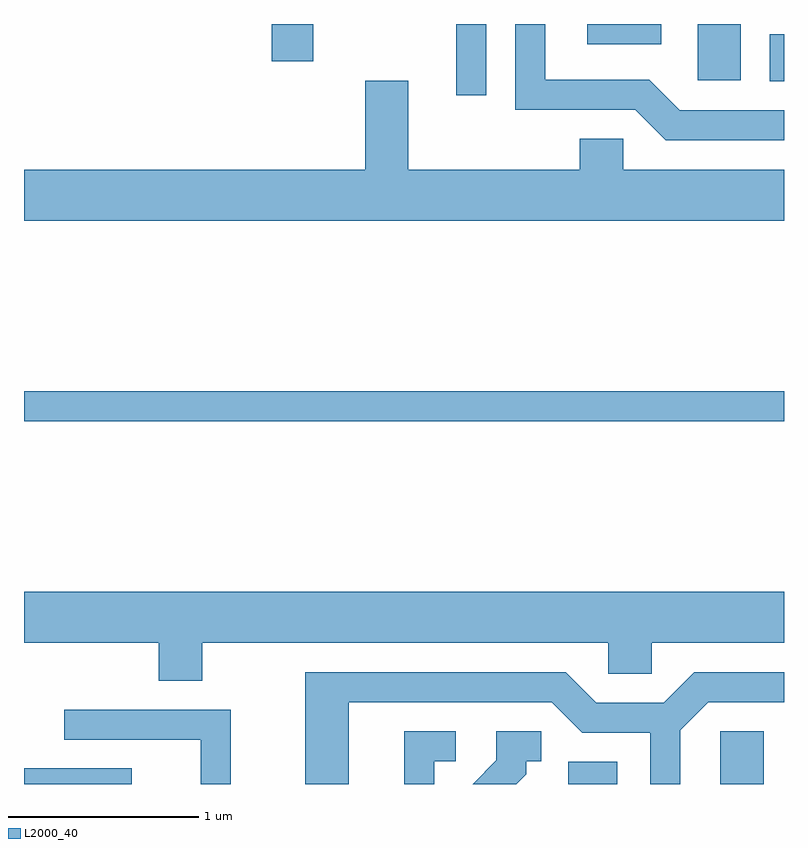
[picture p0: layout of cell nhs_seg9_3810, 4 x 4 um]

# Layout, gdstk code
import gdstk
lib = gdstk.Library(unit=1e-6, precision=1e-09)
def R(c, l, rs):  # rectangles x0, y0, x1, y1
    for r in rs: c.add(gdstk.rectangle(r[:2], r[2:], *l))
def P(c, l, *ps):  # polygons
    for p in ps: c.add(gdstk.Polygon(p, *l))
L2000_40 = (2000, 40)

nhs_seg9_3810 = lib.new_cell('nhs_seg9_3810')
R(nhs_seg9_3810, L2000_40, [(297.611,1964.432,298.179,1964.514), (300.476,1964.432,300.734,1964.549), (301.276,1964.432,301.504,1964.709), (297.611,1966.341,301.611,1966.499), (299.886,1968.058,300.044,1968.432), (301.536,1968.131,301.611,1968.379), (301.156,1968.136,301.384,1968.432), (298.916,1968.236,299.134,1968.432), (300.576,1968.326,300.964,1968.432)])
P(nhs_seg9_3810, L2000_40, [(301.611,1967.979),(301.062,1967.979),(300.902,1968.139),(300.354,1968.139),(300.354,1968.432),(300.196,1968.432),(300.196,1967.981),(300.829,1967.981),(300.989,1967.821),(301.611,1967.821)],
  [(301.611,1967.664),(300.764,1967.664),(300.764,1967.829),(300.536,1967.829),(300.536,1967.664),(299.634,1967.664),(299.634,1968.134),(299.406,1968.134),(299.406,1967.664),(297.611,1967.664),(297.611,1967.396),(301.611,1967.396)],
  [(298.549,1965.176),(300.686,1965.176),(300.686,1965.011),(300.914,1965.011),(300.914,1965.176),(301.611,1965.176),(301.611,1965.444),(297.611,1965.444),(297.611,1965.176),(298.321,1965.176),(298.321,1964.976),(298.549,1964.976)],
  [(299.319,1964.861),(300.389,1964.861),(300.549,1964.701),(300.906,1964.701),(300.906,1964.432),(301.064,1964.432),(301.064,1964.714),(301.212,1964.861),(301.611,1964.861),(301.611,1965.019),(301.139,1965.019),(300.979,1964.859),(300.622,1964.859),(300.462,1965.019),(299.091,1965.019),(299.091,1964.432),(299.319,1964.432)],
  [(298.699,1964.824),(297.823,1964.824),(297.823,1964.666),(298.541,1964.666),(298.541,1964.432),(298.699,1964.432)],
  [(300.254,1964.484),(300.254,1964.551),(300.333,1964.551),(300.333,1964.709),(300.096,1964.709),(300.096,1964.557),(299.972,1964.432),(300.202,1964.432)],
  [(299.769,1964.551),(299.883,1964.551),(299.883,1964.709),(299.611,1964.709),(299.611,1964.432),(299.769,1964.432)])

lib.write_gds('nhs_seg9_3810.gds')
